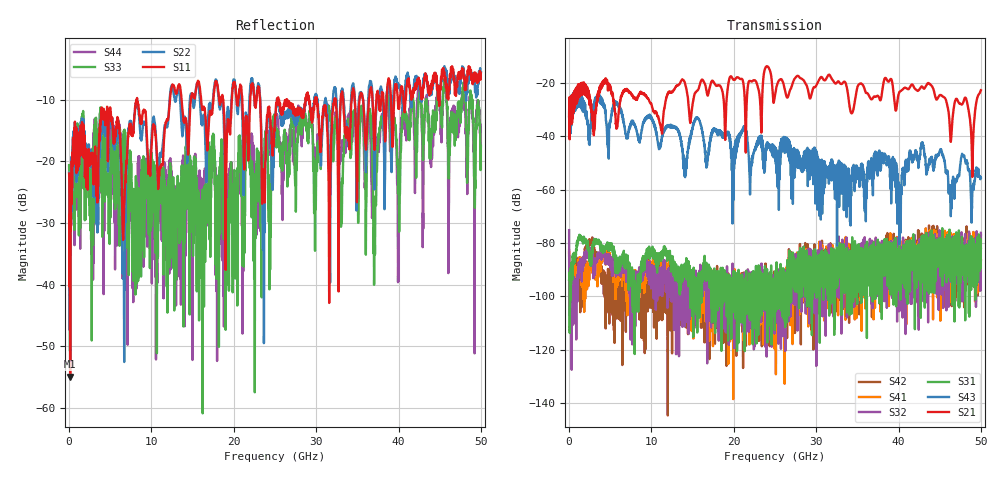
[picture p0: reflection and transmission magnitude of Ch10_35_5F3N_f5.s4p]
!Agilent Technologies,N5247A,US51170199,A.09.90.13
!Agilent N5247A: A.09.90.13
!Date: Wednesday, December 16, 2015 12:39:39
!Correction: S11(Full 4 Port(1,2,3,4))
!S12(Full 4 Port(1,2,3,4))
!S13(Full 4 Port(1,2,3,4))
!S14(Full 4 Port(1,2,3,4))
!S21(Full 4 Port(1,2,3,4))
!S22(Full 4 Port(1,2,3,4))
!S23(Full 4 Port(1,2,3,4))
!S24(Full 4 Port(1,2,3,4))
!S31(Full 4 Port(1,2,3,4))
!S32(Full 4 Port(1,2,3,4))
!S33(Full 4 Port(1,2,3,4))
!S34(Full 4 Port(1,2,3,4))
!S41(Full 4 Port(1,2,3,4))
!S42(Full 4 Port(1,2,3,4))
!S43(Full 4 Port(1,2,3,4))
!S44(Full 4 Port(1,2,3,4))
!S4P File: Measurements: <S11,S12,S13,S14>,
!<S21,S22,S23,S24>,
!<S31,S32,S33,S34>,
!<S41,S42,S43,S44>:
# Hz S  dB  R 50
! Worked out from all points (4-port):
!   3201 points, 10 MHz to 50 GHz, reference 50 ohm
!   strongest paths, dB at 10 MHz, 12.51 GHz, 25 GHz, 37.5 GHz, 50 GHz:
!     S21: -32.5, -23.4, -24.8, -24.9, -22.8
!     S43: -32.8, -36.2, -44.4, -46.3, -55.5
!     S31: -93.8, -88.5, -100.9, -95.0, -82.2
!     S32: -75.2, -95.8, -94.2, -85.1, -76.2
!     S41: -82.8, -93.7, -100.6, -87.7, -86.5
!     S42: -83.5, -121.3, -101.3, -87.7, -77.0
!   lowest |S11| = -55.0 dB at 135 MHz (marker M1), VSWR 1.00, Z = 50 + j0.174 ohm
!   |S11| at or under -10 dB: start of sweep to 8.23 GHz; 8.278 GHz to 12.26 GHz (3.979 GHz wide, 38.8 % of centre); 26.47 GHz to 28.71 GHz (2.24 GHz wide, 8.12 % of centre)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
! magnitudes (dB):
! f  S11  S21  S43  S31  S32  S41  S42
! 10 MHz  -22.0  -32.5  -32.8  -93.8  -75.2  -82.8  -83.5
! 135 MHz  -55.0  -32.8  -36.0  -97.3  -97.3  -97.2  -95.5
! 11.16 GHz  -20.9  -37.3  -43.1  -86.8  -94.8  -88.7  -97.4
! 24.05 GHz  -12.4  -13.8  -42.6  -97.3  -97.1  -98.6  -99.5
! 43.74 GHz  -9.3  -20.3  -48.5  -83.7  -79.6  -81.8  -90.9
! 48.94 GHz  -6.2  -52.5  -63.6  -86.6  -86.7  -77.8  -84.6
! 50 GHz  -5.6  -22.8  -55.5  -82.2  -76.2  -86.5  -77.0
